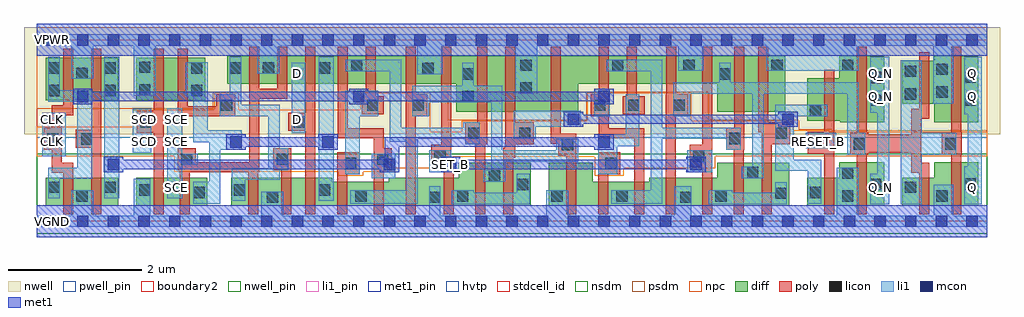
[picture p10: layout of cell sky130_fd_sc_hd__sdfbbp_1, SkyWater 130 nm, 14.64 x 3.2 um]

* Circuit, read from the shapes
.subckt sky130_fd_sc_hd__sdfbbp_1 CLK D Q Q_N RESET_B SCD SCE SET_B VGND VNB VPB VPWR
XM1 VGND CLK n1 VNB sky130_fd_pr__nfet_01v8 w=0.42 l=0.15
XM2 n2 n1 VGND VNB sky130_fd_pr__nfet_01v8 w=0.42 l=0.15
XM3 n3 SCD VGND VNB sky130_fd_pr__nfet_01v8 w=0.42 l=0.15
XM4 n4 SCE n3 VNB sky130_fd_pr__nfet_01v8 w=0.42 l=0.15
XM5 VGND SCE n5 VNB sky130_fd_pr__nfet_01v8 w=0.42 l=0.15
XM6 n6 n5 VGND VNB sky130_fd_pr__nfet_01v8 w=0.42 l=0.15
XM7 n4 D n6 VNB sky130_fd_pr__nfet_01v8 w=0.42 l=0.15
XM8 n7 n1 n4 VNB sky130_fd_pr__nfet_01v8 w=0.36 l=0.15
XM9 n8 n2 n7 VNB sky130_fd_pr__nfet_01v8 w=0.36 l=0.15
XM10 VGND n9 n8 VNB sky130_fd_pr__nfet_01v8 w=0.42 l=0.15
XM11 n10 SET_B VGND VNB sky130_fd_pr__nfet_01v8 w=0.42 l=0.15
XM12 n9 n7 n10 VNB sky130_fd_pr__nfet_01v8 w=0.64 l=0.15
XM13 n10 n11 n9 VNB sky130_fd_pr__nfet_01v8 w=0.64 l=0.15
XM14 n12 n9 VGND VNB sky130_fd_pr__nfet_01v8 w=0.64 l=0.15
XM15 n13 n2 n12 VNB sky130_fd_pr__nfet_01v8 w=0.36 l=0.15
XM16 n14 n1 n13 VNB sky130_fd_pr__nfet_01v8 w=0.36 l=0.15
XM17 VGND n15 n14 VNB sky130_fd_pr__nfet_01v8 w=0.42 l=0.15
XM18 n16 SET_B VGND VNB sky130_fd_pr__nfet_01v8 w=0.42 l=0.15
XM19 n15 n13 n16 VNB sky130_fd_pr__nfet_01v8 w=0.64 l=0.15
XM20 n16 n11 n15 VNB sky130_fd_pr__nfet_01v8 w=0.64 l=0.15
XM21 VGND RESET_B n11 VNB sky130_fd_pr__nfet_01v8 w=0.42 l=0.15
XM22 Q_N n15 VGND VNB sky130_fd_pr__nfet_01v8 w=0.65 l=0.15
XM23 VGND n15 n17 VNB sky130_fd_pr__nfet_01v8 w=0.42 l=0.15
XM24 Q n17 VGND VNB sky130_fd_pr__nfet_01v8 w=0.65 l=0.15
XM25 VPWR CLK n1 VPB sky130_fd_pr__pfet_01v8_hvt w=0.64 l=0.15
XM26 n2 n1 VPWR VPB sky130_fd_pr__pfet_01v8_hvt w=0.64 l=0.15
XM27 n18 SCD VPWR VPB sky130_fd_pr__pfet_01v8_hvt w=0.64 l=0.15
XM28 n4 n5 n18 VPB sky130_fd_pr__pfet_01v8_hvt w=0.64 l=0.15
XM29 VPWR SCE n5 VPB sky130_fd_pr__pfet_01v8_hvt w=0.42 l=0.15
XM30 n19 SCE VPWR VPB sky130_fd_pr__pfet_01v8_hvt w=0.42 l=0.15
XM31 n4 D n19 VPB sky130_fd_pr__pfet_01v8_hvt w=0.42 l=0.15
XM32 n7 n2 n4 VPB sky130_fd_pr__pfet_01v8_hvt w=0.42 l=0.15
XM33 n20 n1 n7 VPB sky130_fd_pr__pfet_01v8_hvt w=0.42 l=0.15
XM34 VPWR n9 n20 VPB sky130_fd_pr__pfet_01v8_hvt w=0.42 l=0.15
XM35 n9 SET_B VPWR VPB sky130_fd_pr__pfet_01v8_hvt w=0.42 l=0.15
XM36 n21 n7 n9 VPB sky130_fd_pr__pfet_01v8_hvt w=0.84 l=0.15
XM37 VPWR n11 n21 VPB sky130_fd_pr__pfet_01v8_hvt w=0.84 l=0.15
XM38 n22 n9 VPWR VPB sky130_fd_pr__pfet_01v8_hvt w=0.84 l=0.15
XM39 n13 n1 n22 VPB sky130_fd_pr__pfet_01v8_hvt w=0.42 l=0.15
XM40 n23 n2 n13 VPB sky130_fd_pr__pfet_01v8_hvt w=0.42 l=0.15
XM41 VPWR n15 n23 VPB sky130_fd_pr__pfet_01v8_hvt w=0.42 l=0.15
XM42 n15 SET_B VPWR VPB sky130_fd_pr__pfet_01v8_hvt w=0.42 l=0.15
XM43 n24 n13 n15 VPB sky130_fd_pr__pfet_01v8_hvt w=0.84 l=0.15
XM44 VPWR n11 n24 VPB sky130_fd_pr__pfet_01v8_hvt w=0.84 l=0.15
XM45 VPWR RESET_B n11 VPB sky130_fd_pr__pfet_01v8_hvt w=0.64 l=0.15
XM46 Q_N n15 VPWR VPB sky130_fd_pr__pfet_01v8_hvt w=1 l=0.15
XM47 VPWR n15 n17 VPB sky130_fd_pr__pfet_01v8_hvt w=0.64 l=0.15
XM48 Q n17 VPWR VPB sky130_fd_pr__pfet_01v8_hvt w=1 l=0.15
.ends

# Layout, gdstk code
import gdstk
lib = gdstk.Library(unit=1e-6, precision=1e-09)
def R(c, l, rs):  # rectangles x0, y0, x1, y1
    for r in rs: c.add(gdstk.rectangle(r[:2], r[2:], *l))
def A(c, l, x, y, w, h, nx, ny, dx, dy):  # array of equal rectangles
    R(c, l, [(x+i*dx, y+j*dy, x+i*dx+w, y+j*dy+h) for i in range(nx) for j in range(ny)])
def P(c, l, *ps):  # polygons
    for p in ps: c.add(gdstk.Polygon(p, *l))
nwell_pin = (64, 16)
nwell = (64, 20)
diff = (65, 20)
poly = (66, 20)
licon = (66, 44)
li1_pin = (67, 16)
li1 = (67, 20)
mcon = (67, 44)
met1_pin = (68, 16)
met1 = (68, 20)
hvtp = (78, 44)
stdcell_id = (81, 4)
nsdm = (93, 44)
psdm = (94, 20)
npc = (95, 20)
pwell_pin = (122, 16)
boundary2 = (236, 0)

sky130_fd_sc_hd__sdfbbp_ = lib.new_cell('sky130_fd_sc_hd__sdfbbp_1')
R(sky130_fd_sc_hd__sdfbbp_, nwell_pin, [(0.145,2.635,0.315,2.805), (0.145,2.635,0.315,2.805)])
R(sky130_fd_sc_hd__sdfbbp_, nwell, [(-0.19,1.305,14.45,2.91)])
R(sky130_fd_sc_hd__sdfbbp_, diff, [(0.135,0.235,1.225,0.655), (1.495,0.235,2.56,0.655), (0.135,1.815,1.225,2.455), (1.495,1.815,2.525,2.455)])
P(sky130_fd_sc_hd__sdfbbp_, diff, [(14.125,0.885),(13.465,0.885),(13.465,0.655),(12.98,0.655),(12.98,0.235),(14.125,0.235)],
  [(14.125,2.485),(13.465,2.485),(13.465,2.405),(12.98,2.405),(12.98,1.765),(13.465,1.765),(13.465,1.485),(14.125,1.485)],
  [(12.71,0.885),(12.04,0.885),(12.04,0.655),(11.555,0.655),(11.555,0.235),(12.71,0.235)],
  [(7.41,0.875),(6.33,0.875),(6.33,0.655),(5.28,0.655),(5.28,0.595),(4.43,0.595),(4.43,0.655),(2.915,0.655),(2.915,0.235),(7.41,0.235)],
  [(12.71,2.485),(12.04,2.485),(12.04,2.145),(11.555,2.145),(11.555,1.505),(12.05,1.505),(12.05,1.485),(12.71,1.485)],
  [(11.23,2.485),(2.855,2.485),(2.855,2.065),(6.295,2.065),(6.295,1.645),(8.12,1.645),(8.12,2.065),(10.205,2.065),(10.205,1.645),(11.23,1.645)],
  [(11.285,0.875),(10.205,0.875),(10.205,0.655),(9.185,0.655),(9.185,0.595),(8.34,0.595),(8.34,0.875),(7.68,0.875),(7.68,0.235),(11.285,0.235)])
P(sky130_fd_sc_hd__sdfbbp_, poly, [(0.545,0.88),(0.375,0.88),(0.375,1.59),(0.545,1.59),(0.545,2.585),(0.395,2.585),(0.395,1.74),(0.225,1.74),(0.225,1.4),(0.105,1.4),(0.105,1.07),(0.225,1.07),(0.225,0.73),(0.395,0.73),(0.395,0.105),(0.545,0.105)],
  [(8.095,1.315),(7.86,1.315),(7.86,2.615),(7.71,2.615),(7.71,1.165),(7.825,1.165),(7.825,0.985),(7.94,0.985),(7.94,0.105),(8.09,0.105),(8.09,0.985),(8.095,0.985)],
  [(0.965,2.585),(0.815,2.585),(0.815,1.37),(0.585,1.37),(0.585,1.1),(0.815,1.1),(0.815,0.105),(0.965,0.105)],
  [(1.905,2.585),(1.755,2.585),(1.755,1.655),(1.5,1.655),(1.5,1.325),(1.755,1.325),(1.755,0.105),(1.905,0.105)],
  [(2.98,1.905),(2.695,1.905),(2.695,1.725),(2.265,1.725),(2.265,2.585),(2.115,2.585),(2.115,1.575),(2.98,1.575)],
  [(3.76,2.615),(3.61,2.615),(3.61,1.985),(3.34,1.985),(3.34,2.615),(3.19,2.615),(3.19,0.885),(2.385,0.885),(2.385,1.095),(2.115,1.095),(2.115,0.765),(2.145,0.765),(2.145,0.105),(2.295,0.105),(2.295,0.735),(3.175,0.735),(3.175,0.105),(3.325,0.105),(3.325,0.735),(3.34,0.735),(3.34,1.835),(3.76,1.835)],
  [(3.82,1.095),(3.55,1.095),(3.55,0.765),(3.67,0.765),(3.67,0.105),(3.82,0.105)],
  [(4.18,2.615),(4.03,2.615),(4.03,1.625),(3.775,1.625),(3.775,1.355),(4.03,1.355),(4.03,0.105),(4.18,0.105)],
  [(4.845,1.035),(4.505,1.035),(4.505,0.105),(4.655,0.105),(4.655,0.705),(4.845,0.705)],
  [(5.205,1.875),(5.085,1.875),(5.085,2.615),(4.935,2.615),(4.935,1.875),(4.875,1.875),(4.875,1.605),(5.205,1.605)],
  [(5.325,1.095),(5.205,1.095),(5.205,1.395),(4.665,1.395),(4.665,2.615),(4.515,2.615),(4.515,1.245),(5.055,1.245),(5.055,0.105),(5.205,0.105),(5.205,0.765),(5.325,0.765)],
  [(13.875,1.325),(13.865,1.325),(13.865,2.615),(13.715,2.615),(13.715,1.325),(13.575,1.325),(13.575,0.995),(13.715,0.995),(13.715,0.105),(13.865,0.105),(13.865,0.995),(13.875,0.995)],
  [(5.855,1.905),(5.685,1.905),(5.685,2.615),(5.535,2.615),(5.535,0.105),(5.685,0.105),(5.685,1.575),(5.855,1.575)],
  [(13.39,0.88),(13.265,0.88),(13.265,1.535),(13.39,1.535),(13.39,2.535),(13.24,2.535),(13.24,1.685),(13.115,1.685),(13.115,1.295),(12.475,1.295),(12.475,1.325),(12.45,1.325),(12.45,2.615),(12.3,2.615),(12.3,1.325),(12.205,1.325),(12.205,0.995),(12.3,0.995),(12.3,0.105),(12.45,0.105),(12.45,0.995),(12.475,0.995),(12.475,1.025),(13.115,1.025),(13.115,0.73),(13.24,0.73),(13.24,0.105),(13.39,0.105)],
  [(10.61,2.615),(10.46,2.615),(10.46,1.405),(10.34,1.405),(10.34,1.075),(10.455,1.075),(10.455,0.105),(10.605,0.105),(10.605,1.075),(10.61,1.075)],
  [(10.13,2.615),(9.98,2.615),(9.98,1.145),(9.795,1.145),(9.795,0.815),(9.98,0.815),(9.98,0.105),(10.13,0.105)],
  [(9.12,1.875),(9,1.875),(9,2.615),(8.85,2.615),(8.85,1.875),(8.79,1.875),(8.79,1.605),(9.12,1.605)],
  [(9.11,1.395),(8.58,1.395),(8.58,2.615),(8.43,2.615),(8.43,1.905),(8.31,1.905),(8.31,1.575),(8.43,1.575),(8.43,1.245),(8.96,1.245),(8.96,0.105),(9.11,0.105)],
  [(6.255,0.965),(6.215,0.965),(6.215,2.615),(6.065,2.615),(6.065,1.145),(5.915,1.145),(5.915,0.815),(6.105,0.815),(6.105,0.105),(6.255,0.105)],
  [(6.755,2.615),(6.605,2.615),(6.605,1.485),(6.425,1.485),(6.425,1.155),(6.58,1.155),(6.58,0.105),(6.73,0.105),(6.73,1.155),(6.755,1.155)],
  [(7.455,1.485),(7.175,1.485),(7.175,2.615),(7.025,2.615),(7.025,1.1),(7,1.1),(7,0.105),(7.15,0.105),(7.15,0.95),(7.175,0.95),(7.175,1.155),(7.455,1.155)],
  [(8.75,1.035),(8.42,1.035),(8.42,0.105),(8.57,0.105),(8.57,0.705),(8.75,0.705)],
  [(9.77,1.905),(9.59,1.905),(9.59,2.615),(9.44,2.615),(9.44,1.905),(9.435,1.905),(9.435,0.105),(9.585,0.105),(9.585,1.575),(9.77,1.575)],
  [(11.3,1.485),(10.97,1.485),(10.97,2.615),(10.82,2.615),(10.82,1.335),(10.875,1.335),(10.875,0.105),(11.025,0.105),(11.025,1.155),(11.3,1.155)],
  [(11.965,2.275),(11.815,2.275),(11.815,1.345),(11.565,1.345),(11.565,1.015),(11.815,1.015),(11.815,0.105),(11.965,0.105)])
R(sky130_fd_sc_hd__sdfbbp_, licon, [(3.45,0.275,3.62,0.445), (5.885,0.275,6.055,0.445), (9.65,0.275,9.82,0.445), (0.595,0.295,0.765,0.465), (4.78,0.295,4.95,0.465), (6.305,0.295,6.475,0.465), (7.72,0.295,7.89,0.465), (8.695,0.295,8.865,0.465), (10.18,0.295,10.35,0.465), (12.08,0.295,12.25,0.465), (13.495,0.295,13.665,0.465), (11.075,0.335,11.245,0.505), (2.35,0.345,2.52,0.515), (11.595,0.345,11.765,0.515), (1.535,0.385,1.705,0.555), (2.955,0.385,3.125,0.555), (4.23,0.385,4.4,0.555), (0.175,0.425,0.345,0.595), (1.015,0.425,1.185,0.595), (13.02,0.425,13.19,0.595), (7.2,0.465,7.37,0.635), (12.5,0.465,12.67,0.635), (13.915,0.475,14.085,0.645), (6.78,0.595,6.95,0.765), (12.08,0.635,12.25,0.805), (10.655,0.645,10.825,0.815), (4.625,0.785,4.795,0.955), (8.53,0.785,8.7,0.955), (2.165,0.845,2.335,1.015), (3.6,0.845,3.77,1.015), (5.105,0.845,5.275,1.015), (5.965,0.895,6.135,1.065), (9.845,0.895,10.015,1.065), (7.875,1.065,8.045,1.235), (12.255,1.075,12.425,1.245), (13.625,1.075,13.795,1.245), (11.615,1.095,11.785,1.265), (0.155,1.15,0.325,1.32), (0.665,1.15,0.835,1.32), (10.39,1.155,10.56,1.325), (6.475,1.235,6.645,1.405), (7.235,1.235,7.405,1.405), (11.08,1.235,11.25,1.405), (1.55,1.405,1.72,1.575), (3.855,1.405,4.025,1.575), (11.595,1.575,11.765,1.745), (2.76,1.655,2.93,1.825), (4.955,1.655,5.125,1.825), (5.635,1.655,5.805,1.825), (8.36,1.655,8.53,1.825), (8.87,1.655,9.04,1.825), (9.55,1.655,9.72,1.825), (12.5,1.73,12.67,1.9), (13.915,1.735,14.085,1.905), (6.385,1.785,6.555,1.955), (13.02,1.825,13.19,1.995), (13.495,1.855,13.665,2.025), (0.175,1.875,0.345,2.045), (1.015,1.875,1.185,2.045), (2.315,1.875,2.485,2.045), (1.535,1.885,1.705,2.055), (7.255,1.915,7.425,2.085), (12.5,2.07,12.67,2.24), (13.915,2.075,14.085,2.245), (6.385,2.125,6.555,2.295), (10.24,2.125,10.41,2.295), (0.595,2.135,0.765,2.305), (13.02,2.165,13.19,2.335), (13.495,2.195,13.665,2.365), (5.785,2.205,5.955,2.375), (0.175,2.215,0.345,2.385), (1.015,2.215,1.185,2.385), (2.315,2.215,2.485,2.385), (2.895,2.215,3.065,2.385), (3.39,2.215,3.56,2.385), (4.23,2.215,4.4,2.385), (1.535,2.225,1.705,2.395), (4.715,2.25,4.885,2.42), (8.63,2.25,8.8,2.42), (7.255,2.255,7.425,2.425), (9.7,2.255,9.87,2.425), (11.02,2.255,11.19,2.425), (12.08,2.255,12.25,2.425)])
R(sky130_fd_sc_hd__sdfbbp_, li1_pin, [(0.145,-0.085,0.315,0.085), (2.01,0.425,2.18,0.595), (12.565,0.425,12.735,0.595), (13.945,0.425,14.115,0.595), (6.125,0.765,6.295,0.935), (0.145,1.105,0.315,1.275), (1.55,1.105,1.72,1.275), (2.01,1.105,2.18,1.275), (11.645,1.105,11.815,1.275), (0.145,1.445,0.315,1.615), (1.55,1.445,1.72,1.615), (2.01,1.445,2.18,1.615), (3.825,1.445,3.995,1.615), (12.565,1.785,12.735,1.955), (13.945,1.785,14.115,1.955), (3.825,2.125,3.995,2.295), (12.565,2.125,12.735,2.295), (13.945,2.125,14.115,2.295), (0.145,2.635,0.315,2.805)])
R(sky130_fd_sc_hd__sdfbbp_, li1, [(4.23,0.305,4.455,2.465), (1.015,0.345,1.24,2.465), (5.025,0.645,5.375,1.015), (9.755,0.735,10.13,1.065), (0.085,0.975,0.435,1.625), (1.44,1.025,1.72,1.685), (11.535,1.095,11.99,1.325), (3.825,1.325,4.025,2.375), (8.36,1.575,8.595,1.985)])
P(sky130_fd_sc_hd__sdfbbp_, li1, [(0.835,1.965),(0.345,1.965),(0.345,2.465),(0.17,2.465),(0.17,1.795),(0.605,1.795),(0.605,0.805),(0.17,0.805),(0.17,0.345),(0.345,0.345),(0.345,0.635),(0.835,0.635)],
  [(14.26,0.085),(13.745,0.085),(13.745,0.545),(13.455,0.545),(13.455,0.085),(12.33,0.085),(12.33,0.805),(12,0.805),(12,0.085),(9.82,0.085),(9.82,0.525),(9.56,0.525),(9.56,0.085),(7.975,0.085),(7.975,0.465),(7.64,0.465),(7.64,0.085),(6.055,0.085),(6.055,0.525),(5.885,0.525),(5.885,0.085),(3.7,0.085),(3.7,0.445),(3.37,0.445),(3.37,0.085),(1.705,0.085),(1.705,0.635),(1.455,0.635),(1.455,0.085),(0.845,0.085),(0.845,0.465),(0.515,0.465),(0.515,0.085),(0,0.085),(0,-0.085),(14.26,-0.085)],
  [(14.26,2.805),(0,2.805),(0,2.635),(0.515,2.635),(0.515,2.135),(0.845,2.135),(0.845,2.635),(1.455,2.635),(1.455,1.885),(1.785,1.885),(1.785,2.635),(3.31,2.635),(3.31,2.215),(3.64,2.215),(3.64,2.635),(5.705,2.635),(5.705,2.205),(6.085,2.205),(6.085,2.635),(7.175,2.635),(7.175,1.915),(7.505,1.915),(7.505,2.635),(9.62,2.635),(9.62,2.255),(10,2.255),(10,2.635),(10.94,2.635),(10.94,2.255),(12.33,2.255),(12.33,2.635),(13.45,2.635),(13.45,1.765),(13.745,1.765),(13.745,2.635),(14.26,2.635)],
  [(14.175,2.465),(13.915,2.465),(13.915,1.605),(13.965,1.605),(13.965,0.825),(13.915,0.825),(13.915,0.255),(14.175,0.255)],
  [(13.795,1.325),(13.275,1.325),(13.275,2.415),(12.96,2.415),(12.96,0.255),(13.275,0.255),(13.275,0.995),(13.795,0.995)],
  [(2.415,1.015),(2.18,1.015),(2.18,1.695),(1.96,1.695),(1.96,0.345),(2.18,0.345),(2.18,0.845),(2.415,0.845)],
  [(3.075,1.365),(2.565,1.365),(2.565,2.385),(2.235,2.385),(2.235,1.875),(2.35,1.875),(2.35,1.185),(2.585,1.185),(2.585,0.595),(2.35,0.595),(2.35,0.265),(2.755,0.265),(2.755,1.075),(3.075,1.075)],
  [(3.77,1.095),(3.645,1.095),(3.645,1.745),(3.065,1.745),(3.065,2.465),(2.895,2.465),(2.895,1.905),(2.745,1.905),(2.745,1.575),(3.475,1.575),(3.475,0.795),(2.925,0.795),(2.925,0.305),(3.125,0.305),(3.125,0.625),(3.645,0.625),(3.645,0.765),(3.77,0.765)],
  [(5.125,1.955),(4.625,1.955),(4.625,0.705),(4.845,0.705),(4.845,1.575),(5.125,1.575)],
  [(12.425,1.325),(12.33,1.325),(12.33,2.085),(10.41,2.085),(10.41,2.375),(10.24,2.375),(10.24,2.085),(9.55,2.085),(9.55,1.575),(9.8,1.575),(9.8,1.915),(10.73,1.915),(10.73,0.815),(10.575,0.815),(10.575,0.645),(10.905,0.645),(10.905,1.915),(12.16,1.915),(12.16,0.995),(12.425,0.995)],
  [(6.295,0.965),(6.215,0.965),(6.215,1.065),(5.885,1.065),(5.885,0.735),(6.295,0.735)],
  [(6.645,1.485),(6.395,1.485),(6.395,1.405),(5.465,1.405),(5.465,2.42),(4.635,2.42),(4.635,2.25),(5.295,2.25),(5.295,1.195),(5.545,1.195),(5.545,0.465),(4.7,0.465),(4.7,0.265),(5.715,0.265),(5.715,1.235),(6.425,1.235),(6.425,1.155),(6.645,1.155)],
  [(12.785,2.465),(12.5,2.465),(12.5,1.63),(12.605,1.63),(12.605,0.715),(12.5,0.715),(12.5,0.255),(12.785,0.255)],
  [(7.395,0.715),(7.2,0.715),(7.2,0.425),(6.555,0.425),(6.555,0.465),(6.225,0.465),(6.225,0.255),(7.395,0.255)],
  [(8.125,1.235),(7.795,1.235),(7.795,1.065),(6.985,1.065),(6.985,2.035),(6.555,2.035),(6.555,2.375),(6.385,2.375),(6.385,2.035),(5.635,2.035),(5.635,1.575),(5.885,1.575),(5.885,1.785),(6.815,1.785),(6.815,0.765),(6.7,0.765),(6.7,0.595),(7.03,0.595),(7.03,0.895),(8.125,0.895)],
  [(8.16,1.655),(7.155,1.655),(7.155,1.235),(7.485,1.235),(7.485,1.415),(8.16,1.415)],
  [(11.25,0.585),(11.075,0.585),(11.075,0.425),(10.43,0.425),(10.43,0.465),(10.08,0.465),(10.08,0.255),(11.25,0.255)],
  [(9.04,1.905),(8.835,1.905),(8.835,1.305),(8.42,1.305),(8.42,0.705),(8.705,0.705),(8.705,1.125),(9.04,1.125)],
  [(10.56,1.405),(9.38,1.405),(9.38,2.42),(8.55,2.42),(8.55,2.25),(9.21,2.25),(9.21,0.465),(8.615,0.465),(8.615,0.265),(9.38,0.265),(9.38,1.235),(10.34,1.235),(10.34,1.075),(10.56,1.075)],
  [(11.855,1.745),(11.08,1.745),(11.08,0.755),(11.565,0.755),(11.565,0.265),(11.765,0.265),(11.765,0.925),(11.355,0.925),(11.355,1.575),(11.855,1.575)])
A(sky130_fd_sc_hd__sdfbbp_, mcon, 0.145, -0.085, 0.17, 0.17, 31, 2, 0.46, 2.72)
R(sky130_fd_sc_hd__sdfbbp_, mcon, [(1.065,0.765,1.235,0.935), (5.205,0.765,5.375,0.935), (6.125,0.765,6.295,0.935), (9.805,0.765,9.975,0.935), (2.905,1.105,3.075,1.275), (4.285,1.105,4.455,1.275), (8.425,1.105,8.595,1.275), (7.965,1.445,8.135,1.615), (11.185,1.445,11.355,1.615), (0.605,1.785,0.775,1.955), (4.745,1.785,4.915,1.955), (8.425,1.785,8.595,1.955)])
R(sky130_fd_sc_hd__sdfbbp_, met1_pin, [(0.145,-0.085,0.315,0.085), (0.145,2.635,0.315,2.805)])
R(sky130_fd_sc_hd__sdfbbp_, met1, [(0,-0.24,14.26,0.24), (0,2.48,14.26,2.96)])
P(sky130_fd_sc_hd__sdfbbp_, met1, [(4.515,1.305),(4.225,1.305),(4.225,1.26),(3.135,1.26),(3.135,1.305),(2.845,1.305),(2.845,1.075),(3.135,1.075),(3.135,1.12),(4.225,1.12),(4.225,1.075),(4.515,1.075)],
  [(8.655,1.985),(8.365,1.985),(8.365,1.94),(4.975,1.94),(4.975,1.985),(4.685,1.985),(4.685,1.94),(0.835,1.94),(0.835,1.985),(0.545,1.985),(0.545,1.755),(0.835,1.755),(0.835,1.8),(4.685,1.8),(4.685,1.755),(4.975,1.755),(4.975,1.8),(8.365,1.8),(8.365,1.755),(8.655,1.755)],
  [(8.655,1.305),(8.365,1.305),(8.365,1.26),(5.22,1.26),(5.22,0.965),(5.145,0.965),(5.145,0.92),(1.295,0.92),(1.295,0.965),(1.005,0.965),(1.005,0.735),(1.295,0.735),(1.295,0.78),(5.145,0.78),(5.145,0.735),(5.435,0.735),(5.435,1.12),(8.365,1.12),(8.365,1.075),(8.655,1.075)],
  [(10.035,0.965),(9.745,0.965),(9.745,0.92),(6.355,0.92),(6.355,0.965),(6.065,0.965),(6.065,0.735),(6.355,0.735),(6.355,0.78),(9.745,0.78),(9.745,0.735),(10.035,0.735)],
  [(11.415,1.645),(11.125,1.645),(11.125,1.6),(8.195,1.6),(8.195,1.645),(7.905,1.645),(7.905,1.415),(8.195,1.415),(8.195,1.46),(11.125,1.46),(11.125,1.415),(11.415,1.415)])
R(sky130_fd_sc_hd__sdfbbp_, hvtp, [(0,1.25,14.26,2.72)])
R(sky130_fd_sc_hd__sdfbbp_, stdcell_id, [(0,0,14.26,2.72)])
R(sky130_fd_sc_hd__sdfbbp_, nsdm, [(0,-0.19,14.26,1.015)])
P(sky130_fd_sc_hd__sdfbbp_, psdm, [(14.26,2.91),(0,2.91),(0,1.685),(2.65,1.685),(2.65,1.935),(6.165,1.935),(6.165,1.515),(8.25,1.515),(8.25,1.935),(10.075,1.935),(10.075,1.515),(11.43,1.515),(11.43,1.375),(11.935,1.375),(11.935,1.355),(14.26,1.355)])
P(sky130_fd_sc_hd__sdfbbp_, npc, [(14.26,1.345),(11.885,1.345),(11.885,1.365),(11.35,1.365),(11.35,1.505),(9.82,1.505),(9.82,1.925),(8.26,1.925),(8.26,1.505),(6.375,1.505),(6.375,1.345),(5.905,1.345),(5.905,1.925),(4.855,1.925),(4.855,1.675),(3.03,1.675),(3.03,1.925),(2.66,1.925),(2.66,1.675),(1.45,1.675),(1.45,1.42),(0,1.42),(0,0.975),(2.065,0.975),(2.065,0.745),(4.525,0.745),(4.525,0.685),(4.895,0.685),(4.895,0.745),(5.375,0.745),(5.375,0.795),(6.235,0.795),(6.235,0.965),(8.37,0.965),(8.37,0.685),(8.805,0.685),(8.805,0.795),(10.18,0.795),(10.18,0.975),(14.26,0.975)])
R(sky130_fd_sc_hd__sdfbbp_, pwell_pin, [(0.145,-0.085,0.315,0.085), (0.145,-0.085,0.315,0.085)])
R(sky130_fd_sc_hd__sdfbbp_, boundary2, [(0,0,14.26,2.72)])
sky130_fd_sc_hd__sdfbbp_.add(gdstk.Label('SCD', (1.61,1.53), layer=67, texttype=5))
sky130_fd_sc_hd__sdfbbp_.add(gdstk.Label('SCD', (1.61,1.19), layer=67, texttype=5))
sky130_fd_sc_hd__sdfbbp_.add(gdstk.Label('SCE', (2.095,1.53), layer=67, texttype=5))
sky130_fd_sc_hd__sdfbbp_.add(gdstk.Label('SCE', (2.095,1.19), layer=67, texttype=5))
sky130_fd_sc_hd__sdfbbp_.add(gdstk.Label('SCE', (2.095,0.51), layer=67, texttype=5))
sky130_fd_sc_hd__sdfbbp_.add(gdstk.Label('RESET_B', (11.73,1.19), layer=67, texttype=5))
sky130_fd_sc_hd__sdfbbp_.add(gdstk.Label('VGND', (0.23,0), layer=67, texttype=5))
sky130_fd_sc_hd__sdfbbp_.add(gdstk.Label('CLK', (0.23,1.19), layer=67, texttype=5))
sky130_fd_sc_hd__sdfbbp_.add(gdstk.Label('CLK', (0.23,1.53), layer=67, texttype=5))
sky130_fd_sc_hd__sdfbbp_.add(gdstk.Label('SET_B', (6.21,0.85), layer=67, texttype=5))
sky130_fd_sc_hd__sdfbbp_.add(gdstk.Label('Q', (14.03,0.51), layer=67, texttype=5))
sky130_fd_sc_hd__sdfbbp_.add(gdstk.Label('Q', (14.03,1.87), layer=67, texttype=5))
sky130_fd_sc_hd__sdfbbp_.add(gdstk.Label('Q', (14.03,2.21), layer=67, texttype=5))
sky130_fd_sc_hd__sdfbbp_.add(gdstk.Label('VPWR', (0.23,2.72), layer=67, texttype=5))
sky130_fd_sc_hd__sdfbbp_.add(gdstk.Label('D', (3.91,1.53), layer=67, texttype=5))
sky130_fd_sc_hd__sdfbbp_.add(gdstk.Label('D', (3.91,2.21), layer=67, texttype=5))
sky130_fd_sc_hd__sdfbbp_.add(gdstk.Label('Q_N', (12.65,2.21), layer=67, texttype=5))
sky130_fd_sc_hd__sdfbbp_.add(gdstk.Label('Q_N', (12.65,1.87), layer=67, texttype=5))
sky130_fd_sc_hd__sdfbbp_.add(gdstk.Label('Q_N', (12.65,0.51), layer=67, texttype=5))
sky130_fd_sc_hd__sdfbbp_.add(gdstk.Label('VGND', (0.23,0), layer=68, texttype=5))
sky130_fd_sc_hd__sdfbbp_.add(gdstk.Label('VPWR', (0.23,2.72), layer=68, texttype=5))
sky130_fd_sc_hd__sdfbbp_.add(gdstk.Label('VPB', (0.23,2.72), layer=64, texttype=5))
sky130_fd_sc_hd__sdfbbp_.add(gdstk.Label('VPB', (0.23,2.72), layer=64, texttype=5))
sky130_fd_sc_hd__sdfbbp_.add(gdstk.Label('VNB', (0.23,0), layer=64, texttype=59))
sky130_fd_sc_hd__sdfbbp_.add(gdstk.Label('VNB', (0.23,0), layer=64, texttype=59))
sky130_fd_sc_hd__sdfbbp_.add(gdstk.Label('sdfbbp_1', (0,0), layer=83, texttype=44))

lib.write_gds('sky130_fd_sc_hd__sdfbbp_1.gds')
